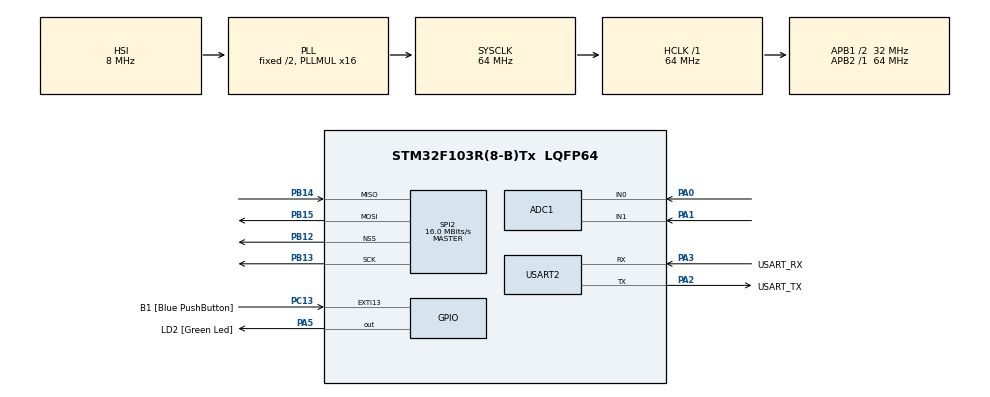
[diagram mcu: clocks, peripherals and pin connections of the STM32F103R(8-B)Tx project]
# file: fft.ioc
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ADC1.Channel-2\#ChannelRegularConversion=ADC_CHANNEL_0
ADC1.Channel-3\#ChannelRegularConversion=ADC_CHANNEL_1
ADC1.DiscontinuousConvMode=ENABLE
ADC1.EnableRegularConversion=ENABLE
ADC1.ExternalTrigConv=ADC_EXTERNALTRIGCONV_T3_TRGO
ADC1.NbrOfConversion=2
ADC1.NbrOfConversionFlag=1
ADC1.NbrOfDiscConversion=2
ADC1.Rank-2\#ChannelRegularConversion=1
ADC1.Rank-3\#ChannelRegularConversion=2
ADC1.SamplingTime-2\#ChannelRegularConversion=ADC_SAMPLETIME_1CYCLE_5
ADC1.SamplingTime-3\#ChannelRegularConversion=ADC_SAMPLETIME_1CYCLE_5
ADC1.master=1
Dma.ADC1.0.Direction=DMA_PERIPH_TO_MEMORY
Dma.ADC1.0.Instance=DMA1_Channel1
Dma.ADC1.0.MemDataAlignment=DMA_MDATAALIGN_HALFWORD
Dma.ADC1.0.MemInc=DMA_MINC_ENABLE
Dma.ADC1.0.Mode=DMA_CIRCULAR
Dma.ADC1.0.PeriphDataAlignment=DMA_PDATAALIGN_HALFWORD
Dma.ADC1.0.PeriphInc=DMA_PINC_DISABLE
Dma.ADC1.0.Priority=DMA_PRIORITY_HIGH
Dma.Request0=ADC1
Mcu.Family=STM32F1
Mcu.Name=STM32F103R(8-B)Tx
Mcu.Package=LQFP64
NVIC.DMA1_Channel1_IRQn=true\:0\:0\:false\:false\:true\:false\:true\:true
NVIC.EXTI15_10_IRQn=true\:0\:0\:false\:false\:true\:true\:true\:true
NVIC.PriorityGroup=NVIC_PRIORITYGROUP_4
PA0-WKUP.Signal=ADCx_IN0
PA1.Signal=ADCx_IN1
PA13.GPIO_Label=TMS
PA13.Mode=Serial_Wire
PA13.Signal=SYS_JTMS-SWDIO
PA14.GPIO_Label=TCK
PA14.Mode=Serial_Wire
PA14.Signal=SYS_JTCK-SWCLK
PA2.GPIO_Label=USART_TX
PA2.GPIO_Mode=GPIO_MODE_AF_PP
PA2.GPIO_PuPd=GPIO_NOPULL
PA2.GPIO_Speed=GPIO_SPEED_FREQ_LOW
PA2.Mode=Asynchronous
PA2.Signal=USART2_TX
PA3.GPIO_Label=USART_RX
PA3.GPIO_Mode=GPIO_MODE_AF_PP
PA3.GPIO_PuPd=GPIO_NOPULL
PA3.GPIO_Speed=GPIO_SPEED_FREQ_LOW
PA3.Mode=Asynchronous
PA3.Signal=USART2_RX
PA5.GPIO_Label=LD2 [Green Led]
PA5.GPIO_ModeDefaultOutputPP=GPIO_MODE_OUTPUT_PP
PA5.GPIO_PuPd=GPIO_NOPULL
PA5.GPIO_Speed=GPIO_SPEED_FREQ_LOW
PA5.Signal=GPIO_Output
PB12.Mode=NSS_Signal_Hard_Output
PB12.Signal=SPI2_NSS
PB13.Mode=Full_Duplex_Master
PB13.Signal=SPI2_SCK
PB14.Mode=Full_Duplex_Master
PB14.Signal=SPI2_MISO
PB15.Mode=Full_Duplex_Master
PB15.Signal=SPI2_MOSI
PB3.GPIO_Label=SWO
PB3.Signal=SYS_JTDO-TRACESWO
PC13-TAMPER-RTC.GPIO_Label=B1 [Blue PushButton]
PC13-TAMPER-RTC.GPIO_PuPd=GPIO_NOPULL
PC13-TAMPER-RTC.Signal=GPXTI13
PC14-OSC32_IN.Mode=LSE-External-Oscillator
PC14-OSC32_IN.Signal=RCC_OSC32_IN
PC15-OSC32_OUT.Mode=LSE-External-Oscillator
PC15-OSC32_OUT.Signal=RCC_OSC32_OUT
PD0-OSC_IN.Mode=HSE-External-Clock-Source
PD0-OSC_IN.Signal=RCC_OSC_IN
PD1-OSC_OUT.Mode=HSE-External-Clock-Source
PD1-OSC_OUT.Signal=RCC_OSC_OUT
ProjectManager.HeapSize=0x200
ProjectManager.StackSize=0x400
ProjectManager.TargetToolchain=STM32CubeIDE
RCC.ADCPresc=RCC_ADCPCLK2_DIV8
RCC.AHBFreq_Value=64000000
RCC.APB1CLKDivider=RCC_HCLK_DIV2
RCC.APB1Freq_Value=32000000
RCC.APB1TimFreq_Value=64000000
RCC.APB2Freq_Value=64000000
RCC.APB2TimFreq_Value=64000000
RCC.HCLKFreq_Value=64000000
RCC.PLLMUL=RCC_PLL_MUL16
RCC.RTCClockSelection=RCC_RTCCLKSOURCE_LSE
RCC.SYSCLKFreq_VALUE=64000000
RCC.SYSCLKSource=RCC_SYSCLKSOURCE_PLLCLK
RCC.USBFreq_Value=64000000
SH.ADCx_IN0.0=ADC1_IN0,IN0
SH.ADCx_IN1.0=ADC1_IN1,IN1
SPI2.CalculateBaudRate=16.0 MBits/s
SPI2.Direction=SPI_DIRECTION_2LINES
SPI2.Mode=SPI_MODE_MASTER
SPI2.VirtualNSS=VM_NSSHARD
SPI2.VirtualType=VM_MASTER
TIM3.AutoReloadPreload=TIM_AUTORELOAD_PRELOAD_ENABLE
TIM3.Period=124
TIM3.Prescaler=124
TIM3.TIM_MasterOutputTrigger=TIM_TRGO_UPDATE
USART2.VirtualMode=VM_ASYNC
VP_CRC_VS_CRC.Mode=CRC_Activate
VP_TIM3_VS_ClockSourceINT.Mode=Internal
board=NUCLEO-F103RB

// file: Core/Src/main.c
/* USER CODE BEGIN Header */
/**
 ******************************************************************************
 * @file           : main.c
 * @brief          : Main program body
 ******************************************************************************
 * @attention
 *
 * Copyright (c) 2025 STMicroelectronics.
 * All rights reserved.
 *
 * This software is licensed under terms that can be found in the LICENSE file
 * in the root directory of this software component.
 * If no LICENSE file comes with this software, it is provided AS-IS.
 *
 ******************************************************************************
 */
/* USER CODE END Header */
#include "main.h"

/* USER CODE BEGIN Includes */
#define ARM_MATH_CM3
#include "arm_math.h"
#include <stdio.h>  // For sprintf
#include <string.h> // For memcpy
/* USER CODE END Includes */

ADC_HandleTypeDef hadc1;
DMA_HandleTypeDef hdma_adc1;

CRC_HandleTypeDef hcrc;

SPI_HandleTypeDef hspi2;

TIM_HandleTypeDef htim3;

UART_HandleTypeDef huart2;

/* USER CODE BEGIN PV */
#define USE_DMA 1 // 1: DMA (Double Buffering), 0: Polling (Data Loss)
#define VISUALIZER_MODE                                                        \
  1 // 1: Binary Output for Python Visualizer (230400bps), 0: Text Output
    // (115200bps)

#define MAX_FFT_LEN                                                            \
  512 // Reduced from 1024 to prevent RAM overflow (2 channels * 2 buffers)
uint16_t current_fft_len = 256;        // Default to Normal Mode
uint32_t current_sampling_rate = 2048; // Default to 2kHz

#if USE_DMA
// Double Buffered, 2 Channels (CH0: Signal, CH1: Temp)
// Size = FFT_LEN * 2 (Ping-Pong) * 2 (Channels)
uint16_t adc_buffer[MAX_FFT_LEN * 4];
#else
uint16_t adc_buffer[MAX_FFT_LEN * 2]; // Single Buffer for Polling (2 Channels)
#endif

float32_t fft_input_buffer[MAX_FFT_LEN];
float32_t fft_output_buffer[MAX_FFT_LEN];
float32_t fft_magnitude[MAX_FFT_LEN / 2];
volatile uint8_t fft_data_ready = 0;
arm_rfft_fast_instance_f32 S;
FeaturePacket g_feat;                   // Global Feature Packet
uint8_t current_mode = CMD_MODE_NORMAL; // Default to Normal Mode
uint8_t spi_rx_buf[22];
/* USER CODE END PV */

void SystemClock_Config(void);
static void MX_GPIO_Init(void);
static void MX_DMA_Init(void);
static void MX_USART2_UART_Init(void);
static void MX_ADC1_Init(void);
static void MX_CRC_Init(void);
static void MX_TIM3_Init(void);
static void MX_SPI2_Init(void);
/* USER CODE BEGIN PFP */
void Update_Sampling_Rate(uint8_t command);
void Reinit_FFT(uint16_t new_len);
void Configure_ADC_Timer(uint32_t sampling_rate);
void Calculate_Features(float32_t *fft_mag, float32_t *time_sig,
                        uint16_t fft_len, uint32_t sampling_rate,
                        FeaturePacket *feat);
/* USER CODE END PFP */

int main(void) {

  /* MCU Configuration--------------------------------------------------------*/

  /* Reset of all peripherals, Initializes the Flash interface and the Systick.
   */
  HAL_Init();

  /* Configure the system clock */
  SystemClock_Config();

  /* Initialize all configured peripherals */
  MX_GPIO_Init();
  MX_DMA_Init();
  MX_USART2_UART_Init();
  MX_ADC1_Init();
  MX_CRC_Init();
  MX_TIM3_Init();
  MX_SPI2_Init();
  /* USER CODE BEGIN 2 */
  arm_rfft_fast_init_f32(&S, MAX_FFT_LEN);
  Reinit_FFT(current_fft_len);
  Configure_ADC_Timer(current_sampling_rate);
  HAL_TIM_Base_Start(&htim3);

#if USE_DMA
  // Start ADC with DMA (Circular Mode)
  // Length = FFT_LEN * 4 (2 Channels * 2 Buffers)
  HAL_ADC_Start_DMA(&hadc1, (uint32_t *)adc_buffer, current_fft_len * 4);
#else
  HAL_ADC_Start(
      &hadc1); // Start ADC in Interrupt/Polling mode (Triggered by Timer)
#endif

  // Debug: Confirm UART is working at startup
  HAL_UART_Transmit(&huart2, (uint8_t *)"UART Initialized v4 (ADC Fixed)\r\n",
                    33, 100);

  /* USER CODE END 2 */

  /* Infinite loop */
  while (1) {

    /* USER CODE BEGIN 3 */
#if USE_DMA
    // =========================================================================
    // DMA Mode (Double Buffering) - No Data Loss
    // =========================================================================
    if (fft_data_ready) {
      // Critical Section: Safely read and clear the flag to prevent race
      // conditions
      __disable_irq();
      uint8_t state = fft_data_ready;
      fft_data_ready = 0;
      __enable_irq();

      // If state was 0 (unlikely but possible if interrupt happened before
      // check), skip
      if (state == 0)
        continue;

      // state 1: First half (0 to 2*FFT_LEN - 1) -> Contains FFT_LEN samples
      // for 2 channels state 2: Second half (2*FFT_LEN to 4*FFT_LEN - 1)
      uint16_t *src_buffer =
          (state == 1) ? &adc_buffer[0] : &adc_buffer[current_fft_len * 2];
#else
    // =========================================================================
    // Polling Mode - Data Loss Occurs during Processing
    // =========================================================================
    // 1. Collect Data (Blocking)
    // In this loop, CPU is busy waiting for ADC.
    // We need to collect FFT_LEN samples for 2 channels = FFT_LEN * 2
    for (int i = 0; i < current_fft_len * 2; i++) {
      // Wait for conversion (Triggered by TIM3)
      HAL_ADC_PollForConversion(&hadc1, 100);
      adc_buffer[i] = (uint16_t)HAL_ADC_GetValue(&hadc1);
    }

    // Set src_buffer to the single buffer
    uint16_t *src_buffer = adc_buffer;

    // Fake the block to reuse processing code below
    {
#endif

      // 1. Start Timing Measurement (Toggle LD2 High)
      HAL_GPIO_WritePin(LD2_GPIO_Port, LD2_Pin, GPIO_PIN_SET);

      // 2. Convert ADC data (uint16_t) to float and Extract Temperature
      // DMA stores data as: [CH0, CH1, CH0, CH1, ...]
      // CH0 = Signal, CH1 = Temperature
      uint32_t temp_sum = 0;

      for (int i = 0; i < current_fft_len; i++) {
        // Even indices (0, 2, 4...) -> Signal (CH0)
        fft_input_buffer[i] = (float32_t)src_buffer[2 * i];

        // Odd indices (1, 3, 5...) -> Temperature (CH1)
        temp_sum += src_buffer[2 * i + 1];
      }

      // Calculate Average Temperature
      float32_t temp_adc_avg = (float32_t)temp_sum / (float32_t)current_fft_len;
      float32_t temp_volts = temp_adc_avg * 3.3f / 4095.0f;
      float32_t temperature =
          temp_volts * 100.0f; // Assuming LM35 (10mV/C) or similar

      // 3. Perform RFFT
      arm_rfft_fast_f32(&S, fft_input_buffer, fft_output_buffer, 0);

      // 4. Calculate Magnitude
      arm_cmplx_mag_f32(fft_output_buffer, fft_magnitude, current_fft_len / 2);

      // 5. Feature Extraction (F1~F5)
      Calculate_Features(fft_magnitude, fft_input_buffer, current_fft_len,
                         current_sampling_rate, &g_feat);

      // 6. Send Features to STM32_B via SPI2
      // Prepare SPI Packet with Header
      // Requested Structure: Header(2) + F1_peak + F1_index + F2_sideband +
      // F2_index + F3_harmonic + F4_rms + F5_thd + Temp Total = 2 + (8 * 4) =
      // 34 bytes
      uint8_t spi_packet[34];
      spi_packet[0] = 0xAA;
      spi_packet[1] = 0xBB;
      memcpy(&spi_packet[2], &g_feat, sizeof(FeaturePacket));

      // Small delay for stability (approx 10-20us)
      for (volatile int k = 0; k < 100; k++) {
        __NOP();
      }

      // Manually copy specific fields
      float *pSpiData = (float *)&spi_packet[2];
      pSpiData[0] = g_feat.F1_peak;
      pSpiData[1] = g_feat.F1_index; // Added F1_index
      pSpiData[2] = g_feat.F2_sideband;
      pSpiData[3] = g_feat.F2_index;
      pSpiData[4] = g_feat.F3_harmonic;
      pSpiData[5] = g_feat.F4_rms;
      pSpiData[6] = g_feat.F5_thd;
      pSpiData[7] = temperature;

      // Transmit Data (NSS handled by Hardware)
      HAL_SPI_Transmit(&hspi2, spi_packet, sizeof(spi_packet), 100);

#if VISUALIZER_MODE
      // =========================================================================
      // Visualizer Mode: Send Binary Data (Header + Float Array)
      // =========================================================================
      // 1. Send Header (0xFFFFFFFF) to sync
      uint32_t header = 0xFFFFFFFF;
      HAL_UART_Transmit(&huart2, (uint8_t *)&header, 4, 100);

      // 2. Send FFT Magnitude Data (FFT_LEN/2 floats)
      if (current_fft_len < MAX_FFT_LEN) {
        memset(&fft_magnitude[current_fft_len / 2], 0,
               ((MAX_FFT_LEN - current_fft_len) / 2) * sizeof(float32_t));
      }
      HAL_UART_Transmit(&huart2, (uint8_t *)fft_magnitude,
                        (current_fft_len / 2) * sizeof(float32_t), 1000);

      // 3. Send Temperature Data (1 float)
      HAL_UART_Transmit(&huart2, (uint8_t *)&temperature, sizeof(float32_t),
                        100);

      // 4. Send Feature Packet (9 floats - Exclude F1_index for Python
      // compatibility) Python expects: F1_mag, F1_freq, F2_mag, F2_idx,
      // F2_freq, F3_mag, F3_freq, F4, F5
      float uart_feat[9];
      uart_feat[0] = g_feat.F1_peak;
      uart_feat[1] = g_feat.F1_freq;
      uart_feat[2] = g_feat.F2_sideband;
      uart_feat[3] = g_feat.F2_index;
      uart_feat[4] = g_feat.F2_freq;
      uart_feat[5] = g_feat.F3_harmonic;
      uart_feat[6] = g_feat.F3_freq;
      uart_feat[7] = g_feat.F4_rms;
      uart_feat[8] = g_feat.F5_thd;

      HAL_UART_Transmit(&huart2, (uint8_t *)uart_feat, sizeof(uart_feat), 100);
#else
      // =========================================================================
      // Text Mode: Send Peak Frequency Info + Temperature + Features
      // =========================================================================
      // 5. Find Peak Frequency (UART Debug)
      float32_t max_value;
      uint32_t max_index;
      // Skip DC component (Index 0)
      arm_max_f32(&fft_magnitude[1], (current_fft_len / 2) - 1, &max_value,
                  &max_index);

      // Adjust index because we started from 1
      max_index += 1;

      // Calculate Frequency: Freq = Index * Fs / FFT_LEN
      // Fs = 4096 Hz (Calculated from TIM3 settings)
      float32_t freq = (float32_t)max_index * (float32_t)current_sampling_rate /
                       (float32_t)current_fft_len;

      char uart_buf[200];
      int len = sprintf(
          uart_buf,
          "Mode: %s, Peak: %d.%d Hz, Mag: %d, Temp: %d.%d C\r\n"
          "F1: %d, F2: %d, F3: %d, F4: %d, F5: %d\r\n",
          (current_mode == CMD_MODE_HIGH_RES) ? "HIGH" : "NORM", (int)freq,
          (int)((freq - (int)freq) * 10), (int)max_value, (int)temperature,
          (int)((temperature - (int)temperature) * 10), (int)g_feat.F1_peak,
          (int)g_feat.F2_sideband, (int)g_feat.F3_harmonic, (int)g_feat.F4_rms,
          (int)(g_feat.F5_thd *
                100)); // THD as percentage * 100 for int display
      HAL_UART_Transmit(&huart2, (uint8_t *)uart_buf, len, 1000);
#endif

      // 6. End Timing Measurement (Toggle LD2 Low)
      HAL_GPIO_WritePin(LD2_GPIO_Port, LD2_Pin, GPIO_PIN_RESET);
    }
#if !USE_DMA
    // End of fake block for Polling mode
  }
#endif
}
/* USER CODE END 3 */
}

void SystemClock_Config(void) {
  RCC_OscInitTypeDef RCC_OscInitStruct = {0};
  RCC_ClkInitTypeDef RCC_ClkInitStruct = {0};
  RCC_PeriphCLKInitTypeDef PeriphClkInit = {0};

  /** Initializes the RCC Oscillators according to the specified parameters
   * in the RCC_OscInitTypeDef structure.
   */
  RCC_OscInitStruct.OscillatorType = RCC_OSCILLATORTYPE_HSI;
  RCC_OscInitStruct.HSIState = RCC_HSI_ON;
  RCC_OscInitStruct.HSICalibrationValue = RCC_HSICALIBRATION_DEFAULT;
  RCC_OscInitStruct.PLL.PLLState = RCC_PLL_ON;
  RCC_OscInitStruct.PLL.PLLSource = RCC_PLLSOURCE_HSI_DIV2;
  RCC_OscInitStruct.PLL.PLLMUL = RCC_PLL_MUL16;
  if (HAL_RCC_OscConfig(&RCC_OscInitStruct) != HAL_OK) {
    Error_Handler();
  }

  /** Initializes the CPU, AHB and APB buses clocks
   */
  RCC_ClkInitStruct.ClockType = RCC_CLOCKTYPE_HCLK | RCC_CLOCKTYPE_SYSCLK |
                                RCC_CLOCKTYPE_PCLK1 | RCC_CLOCKTYPE_PCLK2;
  RCC_ClkInitStruct.SYSCLKSource = RCC_SYSCLKSOURCE_PLLCLK;
  RCC_ClkInitStruct.AHBCLKDivider = RCC_SYSCLK_DIV1;
  RCC_ClkInitStruct.APB1CLKDivider = RCC_HCLK_DIV2;
  RCC_ClkInitStruct.APB2CLKDivider = RCC_HCLK_DIV1;

  if (HAL_RCC_ClockConfig(&RCC_ClkInitStruct, FLASH_LATENCY_2) != HAL_OK) {
    Error_Handler();
  }
  PeriphClkInit.PeriphClockSelection = RCC_PERIPHCLK_ADC;
  PeriphClkInit.AdcClockSelection = RCC_ADCPCLK2_DIV8;
  if (HAL_RCCEx_PeriphCLKConfig(&PeriphClkInit) != HAL_OK) {
    Error_Handler();
  }
}

static void MX_ADC1_Init(void) {

  ADC_ChannelConfTypeDef sConfig = {0};

  /** Common config
   */
  hadc1.Instance = ADC1;
  hadc1.Init.ScanConvMode = ADC_SCAN_ENABLE;
  hadc1.Init.ContinuousConvMode = DISABLE;
  hadc1.Init.DiscontinuousConvMode = DISABLE;
  hadc1.Init.ExternalTrigConv = ADC_EXTERNALTRIGCONV_T3_TRGO;
  hadc1.Init.DataAlign = ADC_DATAALIGN_RIGHT;
  hadc1.Init.NbrOfConversion = 2;
  if (HAL_ADC_Init(&hadc1) != HAL_OK) {
    Error_Handler();
  }

  /** Configure Regular Channel
   */
  sConfig.Channel = ADC_CHANNEL_0;
  sConfig.Rank = ADC_REGULAR_RANK_1;
  sConfig.SamplingTime = ADC_SAMPLETIME_71CYCLES_5;
  if (HAL_ADC_ConfigChannel(&hadc1, &sConfig) != HAL_OK) {
    Error_Handler();
  }

  /** Configure Regular Channel
   */
  sConfig.Channel = ADC_CHANNEL_1;
  sConfig.Rank = ADC_REGULAR_RANK_2;
  if (HAL_ADC_ConfigChannel(&hadc1, &sConfig) != HAL_OK) {
    Error_Handler();
  }
}

static void MX_CRC_Init(void) {

  hcrc.Instance = CRC;
  if (HAL_CRC_Init(&hcrc) != HAL_OK) {
    Error_Handler();
  }
}

static void MX_SPI2_Init(void) {

  /* SPI2 parameter configuration*/
  hspi2.Instance = SPI2;
  hspi2.Init.Mode = SPI_MODE_MASTER;
  hspi2.Init.Direction = SPI_DIRECTION_2LINES;
  hspi2.Init.DataSize = SPI_DATASIZE_8BIT;
  hspi2.Init.CLKPolarity = SPI_POLARITY_LOW;
  hspi2.Init.CLKPhase = SPI_PHASE_1EDGE;
  hspi2.Init.NSS = SPI_NSS_HARD_OUTPUT;
  hspi2.Init.BaudRatePrescaler = SPI_BAUDRATEPRESCALER_2;
  hspi2.Init.FirstBit = SPI_FIRSTBIT_MSB;
  hspi2.Init.TIMode = SPI_TIMODE_DISABLE;
  hspi2.Init.CRCCalculation = SPI_CRCCALCULATION_DISABLE;
  hspi2.Init.CRCPolynomial = 10;
  if (HAL_SPI_Init(&hspi2) != HAL_OK) {
    Error_Handler();
  }
}

static void MX_TIM3_Init(void) {

  TIM_ClockConfigTypeDef sClockSourceConfig = {0};
  TIM_MasterConfigTypeDef sMasterConfig = {0};

  htim3.Instance = TIM3;
  htim3.Init.Prescaler = 124;
  htim3.Init.CounterMode = TIM_COUNTERMODE_UP;
  htim3.Init.Period = 124;
  htim3.Init.ClockDivision = TIM_CLOCKDIVISION_DIV1;
  htim3.Init.AutoReloadPreload = TIM_AUTORELOAD_PRELOAD_ENABLE;
  if (HAL_TIM_Base_Init(&htim3) != HAL_OK) {
    Error_Handler();
  }
  sClockSourceConfig.ClockSource = TIM_CLOCKSOURCE_INTERNAL;
  if (HAL_TIM_ConfigClockSource(&htim3, &sClockSourceConfig) != HAL_OK) {
    Error_Handler();
  }
  sMasterConfig.MasterOutputTrigger = TIM_TRGO_UPDATE;
  sMasterConfig.MasterSlaveMode = TIM_MASTERSLAVEMODE_DISABLE;
  if (HAL_TIMEx_MasterConfigSynchronization(&htim3, &sMasterConfig) != HAL_OK) {
    Error_Handler();
  }
}

static void MX_USART2_UART_Init(void) {

  huart2.Instance = USART2;
  huart2.Init.BaudRate = 230400; // Lowered to 230400 for stability
  huart2.Init.WordLength = UART_WORDLENGTH_8B;
  huart2.Init.StopBits = UART_STOPBITS_1;
  huart2.Init.Parity = UART_PARITY_NONE;
  huart2.Init.Mode = UART_MODE_TX_RX;
  huart2.Init.HwFlowCtl = UART_HWCONTROL_NONE;
  huart2.Init.OverSampling = UART_OVERSAMPLING_16;
  if (HAL_UART_Init(&huart2) != HAL_OK) {
    Error_Handler();
  }
}

static void MX_DMA_Init(void) {

  /* DMA controller clock enable */
  __HAL_RCC_DMA1_CLK_ENABLE();

  /* DMA interrupt init */
  /* DMA1_Channel1_IRQn interrupt configuration */
  HAL_NVIC_SetPriority(DMA1_Channel1_IRQn, 0, 0);
  HAL_NVIC_EnableIRQ(DMA1_Channel1_IRQn);
}

static void MX_GPIO_Init(void) {
  GPIO_InitTypeDef GPIO_InitStruct = {0};

  /* GPIO Ports Clock Enable */
  __HAL_RCC_GPIOC_CLK_ENABLE();
  __HAL_RCC_GPIOD_CLK_ENABLE();
  __HAL_RCC_GPIOA_CLK_ENABLE();
  __HAL_RCC_GPIOB_CLK_ENABLE();

  /*Configure GPIO pin Output Level */
  HAL_GPIO_WritePin(LD2_GPIO_Port, LD2_Pin, GPIO_PIN_RESET);

  /*Configure GPIO pin : B1_Pin */
  GPIO_InitStruct.Pin = B1_Pin;
  GPIO_InitStruct.Mode = GPIO_MODE_IT_RISING;
  GPIO_InitStruct.Pull = GPIO_NOPULL;
  HAL_GPIO_Init(B1_GPIO_Port, &GPIO_InitStruct);

  /*Configure GPIO pin : LD2_Pin */
  GPIO_InitStruct.Pin = LD2_Pin;
  GPIO_InitStruct.Mode = GPIO_MODE_OUTPUT_PP;
  GPIO_InitStruct.Pull = GPIO_NOPULL;
  GPIO_InitStruct.Speed = GPIO_SPEED_FREQ_LOW;
  HAL_GPIO_Init(LD2_GPIO_Port, &GPIO_InitStruct);

  /* EXTI interrupt init*/
  HAL_NVIC_SetPriority(EXTI15_10_IRQn, 0, 0);
  HAL_NVIC_EnableIRQ(EXTI15_10_IRQn);

}

/* USER CODE BEGIN 4 */
void Update_Sampling_Rate(uint8_t command) {
  if (command == current_mode) {
    return; // No change
  }

  if (command == CMD_MODE_HIGH_RES) {
    // High Resolution Mode: Increase Sampling Rate
    // Target: 4096 Hz (Original Standard)
    // PSC=124, ARR=124 -> 4096 Hz
    __HAL_TIM_SET_AUTORELOAD(&htim3, 124);
    current_sampling_rate = 4096;
    current_mode = command;
  } else if (command == CMD_MODE_NORMAL) {
    // Normal Mode: Reduce Sampling Rate (Power Saving)
    // Target: 2048 Hz (Half)
    // PSC=124, ARR=249 (approx 250 for half freq)
    // 64MHz / (125 * 250) = 2048 Hz
    __HAL_TIM_SET_AUTORELOAD(&htim3, 249);
    current_sampling_rate = 2048;
    current_mode = command;
  }
  // Reset Counter to avoid glitches if CNT > new ARR
  __HAL_TIM_SET_COUNTER(&htim3, 0);
}

#if USE_DMA
void HAL_ADC_ConvHalfCpltCallback(ADC_HandleTypeDef *hadc) {
  if (hadc->Instance == ADC1) {
    fft_data_ready = 1; // First half ready
  }
}

void HAL_ADC_ConvCpltCallback(ADC_HandleTypeDef *hadc) {
  if (hadc->Instance == ADC1) {
    fft_data_ready = 2; // Second half ready
  }
}

void HAL_ADC_ErrorCallback(ADC_HandleTypeDef *hadc) {
  // Toggle LD2 fast to indicate error
  HAL_GPIO_TogglePin(LD2_GPIO_Port, LD2_Pin);
}
#endif

void Calculate_Features(float32_t *fft_mag, float32_t *time_sig,
                        uint16_t fft_len, uint32_t sampling_rate,
                        FeaturePacket *feat) {
  // F1: Peak Frequency Magnitude (Global Peak)
  // Skip DC (index 0)
  float32_t max_val;
  uint32_t max_idx;
  arm_max_f32(&fft_mag[1], (fft_len / 2) - 1, &max_val, &max_idx);
  max_idx += 1; // Adjust for offset because we started search from index 1

  feat->F1_peak = max_val;
  feat->F1_index = (float32_t)max_idx; // Store Index
  feat->F1_freq =
      (float32_t)max_idx * (float32_t)sampling_rate / (float32_t)fft_len;

  // F2: Sideband Magnitude (Targeted Search using 1/7 Rule)
  // 1/7 Rule: Mechanical Frequency (fr) = Electrical Frequency (fs) / 7
  // Sidebands appear at fs +/- k * fr (where k = 1, 3, 5...)
  // We search around these candidate positions relative to F1.

  float32_t sb_max = 0.0f;
  uint32_t sb_idx = 0;

  // Calculate Machine Frequency Index (fr_idx)
  // max_idx is F1 (fs). fr_idx = fs / 7
  uint32_t fr_idx = max_idx / 7;

  // Candidate multipliers: 1 (Shaft/Unbalance), 3 (Outer Race), 5 (Inner Race)
  int multipliers[] = {1, 3, 5};

  for (int k = 0; k < 3; k++) {
    int dist_idx = fr_idx * multipliers[k]; // Distance from F1

    // Check both Left (-) and Right (+) sidebands
    int signs[] = {-1, 1};
    for (int s = 0; s < 2; s++) {
      int center_idx = (int)max_idx + (dist_idx * signs[s]);

      // Search +/- 5 index around the candidate center to catch offset peaks
      for (int offset = -5; offset <= 5; offset++) {
        int target_idx = center_idx + offset;

        // Boundary Check
        if (target_idx > 0 && target_idx < (fft_len / 2)) {
          // Skip F1 itself (just in case)
          if (target_idx == max_idx)
            continue;

          if (fft_mag[target_idx] > sb_max) {
            sb_max = fft_mag[target_idx];
            sb_idx = target_idx;
          }
        }
      }
    }
  }

  feat->F2_sideband = sb_max;
  feat->F2_index = (float32_t)sb_idx; // Store Index for SPI

  // Calculate F2 Frequency
  if (sb_max > 0.0f) {
    feat->F2_freq =
        (float32_t)sb_idx * (float32_t)sampling_rate / (float32_t)fft_len;
  } else {
    feat->F2_freq = 0.0f;
  }

  // F3: 3rd Harmonic Magnitude
  // Harmonic Index = 3 * Fundamental Index
  int h3_idx = max_idx * 3;
  if (h3_idx < (fft_len / 2)) {
    feat->F3_harmonic = fft_mag[h3_idx];
    feat->F3_freq =
        (float32_t)h3_idx * (float32_t)sampling_rate / (float32_t)fft_len;
  } else {
    feat->F3_harmonic = 0.0f;
    feat->F3_freq = 0.0f;
  }

  // F4: RMS (Time Domain)
  // sqrt( sum(x^2) / N )
  float32_t sum_sq = 0.0f;
  for (int i = 0; i < fft_len; i++) {
    sum_sq += time_sig[i] * time_sig[i];
  }
  float32_t mean_sq = sum_sq / (float32_t)fft_len;
  arm_sqrt_f32(mean_sq, &feat->F4_rms);

  // F5: THD (Total Harmonic Distortion)
  // sqrt( sum(Harmonic_Mag^2) ) / Fundamental_Mag
  // Harmonics: 2nd to 5th
  float32_t harm_energy = 0.0f;
  for (int h = 2; h <= 5; h++) {
    int h_idx = max_idx * h;
    if (h_idx < (fft_len / 2)) {
      harm_energy += fft_mag[h_idx] * fft_mag[h_idx];
    }
  }

  float32_t harm_rms;
  arm_sqrt_f32(harm_energy, &harm_rms);

  if (feat->F1_peak > 0.0001f) {
    feat->F5_thd = harm_rms / feat->F1_peak;
  } else {
    feat->F5_thd = 0.0f;
  }
}

void Configure_ADC_Timer(uint32_t sampling_rate) {
  // TIM3 Clock = PCLK1 * 2 = 8MHz * 2 = 16MHz (Assuming HSI 8MHz, PLLx2 ->
  // 16MHz... wait, SystemClock_Config says PLLMUL16 -> 64MHz?) Let's check
  // SystemClock_Config. HSI(8MHz) / 2 * 16 = 64MHz SYSCLK. APB1 = HCLK/2 =
  // 32MHz. TIM3 CLK = APB1 * 2 = 64MHz.

  // Target Frequency = sampling_rate
  // Update Event Freq = TIM_CLK / ((PSC + 1) * (ARR + 1))
  // We want Update Event Freq = sampling_rate

  // Let's fix PSC and calculate ARR.
  // 64,000,000 / (sampling_rate) = Total Counts
  // If sampling_rate = 2000 -> 32000 counts. Fits in 16-bit ARR (65535).
  // If sampling_rate = 8000 -> 8000 counts. Fits.

  // Let's use PSC = 63 (Divide by 64) -> 1MHz Timer Clock
  // Then ARR = (1,000,000 / sampling_rate) - 1

  uint32_t psc = 63;
  uint32_t arr = (1000000 / sampling_rate) - 1;

  __HAL_TIM_SET_PRESCALER(&htim3, psc);
  __HAL_TIM_SET_AUTORELOAD(&htim3, arr);

  // Reset Counter to avoid immediate trigger if current count > new ARR
  __HAL_TIM_SET_COUNTER(&htim3, 0);
}

void Reinit_FFT(uint16_t new_len) {
  // Re-initialize FFT structure
  arm_rfft_fast_init_f32(&S, new_len);
}
/* USER CODE END 4 */

void Error_Handler(void) {
  __disable_irq();
  while (1) {
  }
}
#ifdef USE_FULL_ASSERT
/**
 * @brief  Reports the name of the source file and the source line number
 *         where the assert_param error has occurred.
 * @param  file: pointer to the source file name
 * @param  line: assert_param error line source number
 * @retval None
 */
void assert_failed(uint8_t *file, uint32_t line) {
  /* USER CODE BEGIN 6 */
  /* User can add his own implementation to report the file name and line
     number, ex: printf("Wrong parameters value: file %s on line %d\r\n", file,
     line) */
  /* USER CODE END 6 */
}
#endif /* USE_FULL_ASSERT */
